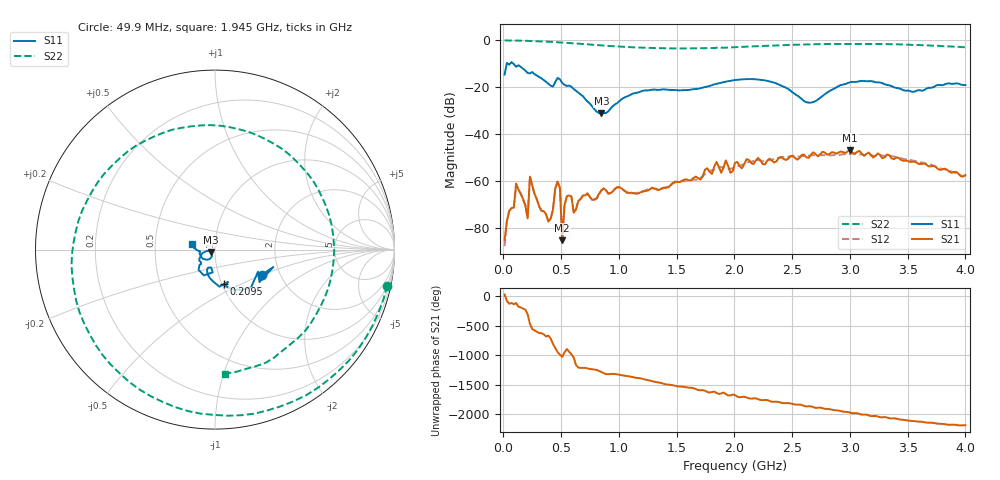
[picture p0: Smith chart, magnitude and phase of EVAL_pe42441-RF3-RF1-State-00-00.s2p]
! 9/28/2016 2:53:32 PM
! C:\USERS\ANRITSUUSER\DESKTOP\SWITCHES\EVAL_PE42441-RF3-RF1-STATE-00-00.S2P
! CHANNEL.1
! TR.MEASUREMENT
! CORRECTED.DATA
# GHZ S RI R 50.0
! FREQ.GHZ  S11RE  S11IM  S21RE  S21IM  S12RE  S12IM  S22RE  S22IM
!; PortSelection: Port_12
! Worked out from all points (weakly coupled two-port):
!   201 points, 10 MHz to 4 GHz, reference 50 ohm
!   highest |S21| = -47.03 dB at 3.002 GHz (marker M1); lowest = -85.3 dB at 508.8 MHz (marker M2)
!   lowest |S11| = -31.2 dB at 847.9 MHz (marker M3), VSWR 1.06, Z = 47.8 - j1.53 ohm
!   |S11| at or under -10 dB: start of sweep to 28.86 MHz; 36.95 MHz to 58.94 MHz (21.98 MHz wide, 45.9 % of centre); 83.79 MHz to end of sweep
!   |S22| runs from -3.6 to -0.2 dB; largest |S21 - S12| = 0.00086
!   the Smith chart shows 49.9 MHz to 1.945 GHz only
!   S11 on the Smith chart (normalised r, x): 49.9 MHz: 1.62, -0.50; 209.5 MHz: 1.02, -0.41; 1.945 GHz: 0.77, +0.05
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0.01  0.1589 0.0917  4.65e-05 2.87e-05  4.04e-05 4.4e-06  0.9792 -0.055
0.0499  0.2641 -0.1389  -0.000126 -0.000188  -0.000122 -0.000193  0.9587 -0.2007
0.10975  0.24 -0.1229  -0.000319 -0.000815  -0.000311 -0.000803  0.8794 -0.4196
0.2095  0.0477 -0.1931  9.19e-05 0.00013  9.02e-05 0.000132  0.6363 -0.7219
0.22945  0.0726 -0.1809  -0.000344 -0.00119  -0.000348 -0.00119  0.5744 -0.769
0.38905  -0.044 -0.1086  7.78e-05 0.00011  8.68e-05 0.000111  -0.00574 -0.921
0.46885  -0.0622 -0.1434  -0.000703 0.000661  -0.000711 0.000647  -0.2908 -0.8488
0.4888  -0.0914 -0.1136  -3.46e-05 0.000709  -2.34e-05 0.000719  -0.3566 -0.8177
0.50875  -0.0867 -0.0852  3.25e-05 4.39e-05  3.71e-05 4.07e-05  -0.4166 -0.7819
0.54865  -0.0784 -0.0702  -0.000468 -6.15e-05  -0.000452 -7.1e-05  -0.5294 -0.6911
0.6883  -0.0616 -0.0157  -0.000329 -0.000362  -0.000334 -0.000352  -0.7734 -0.285
0.8479  -0.0225 -0.016  -0.000589 0.000227  -0.000592 0.000208  -0.7403 0.2169
1.34665  -0.0809 -0.031  0.000605 -0.000202  0.00062 -0.000233  0.4074 0.5349
1.6459  -0.0894 -0.00837  -0.000497 -0.00105  -0.000568 -0.000892  0.6448 -0.1645
1.94515  -0.1281 0.034  -0.00106 0.0018  -0.00136 0.0012  0.0574 -0.6908
2.005  -0.1301 0.0541  -0.00147 0.00193  -0.000969 0.0017  -0.117 -0.6953
2.34415  -0.0364 0.1181  0.00239 0.000562  0.00282 0.000809  -0.7676 0.0229
2.6833  -0.027 0.0395  0.000876 -0.00397  0.000504 -0.00349  -0.145 0.8004
3.0025  -0.0457 0.1182  -0.00439 -0.000736  -0.00361 -0.000943  0.7178 0.4164
3.34165  0.0969 0.0488  -0.000267 0.0035  -0.000875 0.00336  0.5759 -0.5809
3.601  0.00486 -0.0856  0.00183 0.00135  0.00203 0.00152  -0.2014 -0.757
4  -0.0946 0.0563  0.00122 -0.000539  0.00109 -0.000642  -0.685 0.1768
